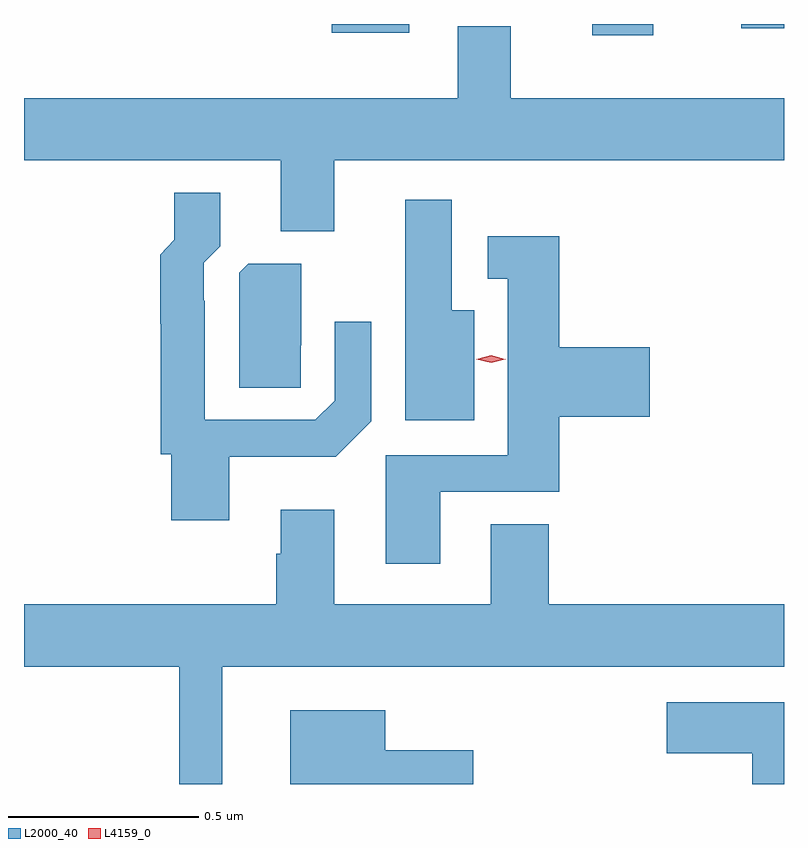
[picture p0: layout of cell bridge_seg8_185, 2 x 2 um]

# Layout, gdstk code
import gdstk
lib = gdstk.Library(unit=1e-6, precision=1e-09)
def R(c, l, rs):  # rectangles x0, y0, x1, y1
    for r in rs: c.add(gdstk.rectangle(r[:2], r[2:], *l))
def P(c, l, *ps):  # polygons
    for p in ps: c.add(gdstk.Polygon(p, *l))
L2000_40 = (2000, 40)
L4159_0 = (4159, 0)

bridge_seg8_185 = lib.new_cell('bridge_seg8_185')
R(bridge_seg8_185, L2000_40, [(274.586,1115.498,274.747,1115.527), (273.901,1115.504,274.105,1115.527), (274.978,1115.516,275.091,1115.527)])
P(bridge_seg8_185, L2000_40, [(273.907,1115.168),(275.091,1115.168),(275.091,1115.332),(274.372,1115.332),(274.372,1115.521),(274.232,1115.521),(274.232,1115.332),(273.091,1115.332),(273.091,1115.168),(273.767,1115.168),(273.767,1114.981),(273.907,1114.981)],
  [(273.631,1114.388),(273.911,1114.388),(274.005,1114.482),(274.005,1114.744),(273.909,1114.744),(273.909,1114.536),(273.858,1114.485),(273.567,1114.485),(273.567,1114.799),(273.564,1114.799),(273.564,1114.899),(273.607,1114.942),(273.607,1115.083),(273.487,1115.083),(273.487,1114.959),(273.449,1114.92),(273.449,1114.738),(273.451,1114.738),(273.451,1114.395),(273.479,1114.395),(273.479,1114.221),(273.631,1114.221)],
  [(274.276,1114.774),(274.216,1114.774),(274.216,1115.065),(274.094,1115.065),(274.094,1114.484),(274.276,1114.484)],
  [(274.186,1114.296),(274.499,1114.296),(274.499,1114.493),(274.738,1114.493),(274.738,1114.676),(274.499,1114.676),(274.499,1114.969),(274.311,1114.969),(274.311,1114.856),(274.364,1114.856),(274.364,1114.392),(274.043,1114.392),(274.043,1114.107),(274.186,1114.107)],
  [(273.819,1114.681),(273.82,1114.681),(273.82,1114.896),(273.681,1114.896),(273.657,1114.872),(273.657,1114.57),(273.819,1114.57)],
  [(273.613,1113.836),(275.091,1113.836),(275.091,1114),(274.472,1114),(274.472,1114.211),(274.319,1114.211),(274.319,1114),(273.907,1114),(273.907,1114.249),(273.767,1114.249),(273.767,1114.133),(273.755,1114.133),(273.755,1114),(273.091,1114),(273.091,1113.836),(273.499,1113.836),(273.499,1113.527),(273.613,1113.527)],
  [(275.091,1113.742),(274.782,1113.742),(274.782,1113.608),(275.008,1113.608),(275.008,1113.527),(275.091,1113.527)],
  [(274.273,1113.616),(274.042,1113.616),(274.042,1113.721),(273.791,1113.721),(273.791,1113.527),(274.273,1113.527)])
P(bridge_seg8_185, L4159_0, [(274.32,1114.635),(274.281,1114.645),(274.28,1114.645),(274.281,1114.645),(274.32,1114.655),(274.358,1114.645),(274.359,1114.645),(274.358,1114.645)])

lib.write_gds('bridge_seg8_185.gds')
